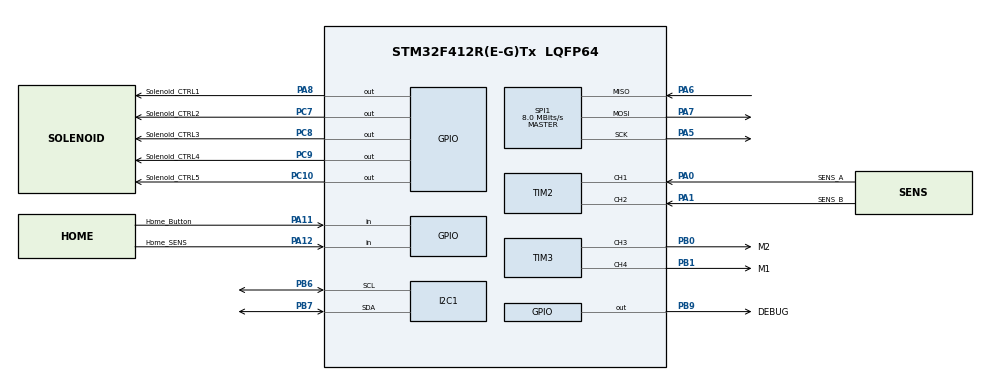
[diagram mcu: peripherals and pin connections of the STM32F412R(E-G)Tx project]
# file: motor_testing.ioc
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Mcu.Family=STM32F4
Mcu.Name=STM32F412R(E-G)Tx
Mcu.Package=LQFP64
Mcu.UserConstants=TIMxfrequency,16000000;TIM3prescaler,0;TIM3frequency,1000;TIM3autoreload,TIMxfrequency/((TIM3prescaler+1)*TIM3frequency)
NVIC.FPU_IRQn=true\:0\:0\:false\:false\:true\:true\:false\:true
NVIC.PriorityGroup=NVIC_PRIORITYGROUP_4
NVIC.TIM2_IRQn=true\:5\:0\:true\:false\:true\:true\:true\:true
NVIC.TIM3_IRQn=true\:5\:0\:true\:false\:true\:true\:true\:true
NVIC.TIM8_UP_TIM13_IRQn=true\:15\:0\:false\:false\:true\:false\:true\:true
NVIC.TimeBase=TIM8_UP_TIM13_IRQn
NVIC.TimeBaseIP=TIM8
PA0.GPIO_Label=SENS_A
PA0.Signal=S_TIM2_CH1_ETR
PA1.GPIO_Label=SENS_B
PA1.Signal=S_TIM2_CH2
PA11.GPIO_Label=Home_Button
PA11.GPIO_PuPd=GPIO_PULLDOWN
PA11.Signal=GPIO_Input
PA12.GPIO_Label=Home_SENS
PA12.GPIO_PuPd=GPIO_PULLDOWN
PA12.Signal=GPIO_Input
PA13.GPIO_Label=M_SWDIO
PA13.Mode=Trace_Asynchronous_SW
PA13.Signal=SYS_JTMS-SWDIO
PA14.GPIO_Label=M_SWCLK
PA14.Mode=Trace_Asynchronous_SW
PA14.Signal=SYS_JTCK-SWCLK
PA5.Mode=Full_Duplex_Master
PA5.Signal=SPI1_SCK
PA6.Mode=Full_Duplex_Master
PA6.Signal=SPI1_MISO
PA7.Mode=Full_Duplex_Master
PA7.Signal=SPI1_MOSI
PA8.GPIO_Label=Solenoid_CTRL1
PA8.Signal=GPIO_Output
PB0.GPIO_Label=M2
PB0.GPIO_PuPd=GPIO_NOPULL
PB0.Signal=S_TIM3_CH3
PB1.GPIO_Label=M1
PB1.Signal=S_TIM3_CH4
PB3.GPIO_Label=M_SWO
PB3.Mode=Trace_Asynchronous_SW
PB3.Signal=SYS_JTDO-SWO
PB6.Mode=I2C
PB6.Signal=I2C1_SCL
PB7.Mode=I2C
PB7.Signal=I2C1_SDA
PB9.GPIO_Label=DEBUG
PB9.Signal=GPIO_Output
PC10.GPIO_Label=Solenoid_CTRL5
PC10.Signal=GPIO_Output
PC7.GPIO_Label=Solenoid_CTRL2
PC7.Signal=GPIO_Output
PC8.GPIO_Label=Solenoid_CTRL3
PC8.Signal=GPIO_Output
PC9.GPIO_Label=Solenoid_CTRL4
PC9.Signal=GPIO_Output
PH0\ -\ OSC_IN.Mode=HSE-External-Oscillator
PH0\ -\ OSC_IN.Signal=RCC_OSC_IN
PH1\ -\ OSC_OUT.Mode=HSE-External-Oscillator
PH1\ -\ OSC_OUT.Signal=RCC_OSC_OUT
ProjectManager.HeapSize=0x200
ProjectManager.StackSize=0x400
ProjectManager.TargetToolchain=CMake
RCC.CortexFreq_Value=16000000
RCC.HSE_VALUE=8000000
RCC.PLLSourceVirtual=RCC_PLLSOURCE_HSE
RCC.USBFreq_Value=48000000
RCC.VCOOutputFreq_Value=96000000
SH.S_TIM2_CH1_ETR.0=TIM2_CH1,Encoder_Interface
SH.S_TIM2_CH2.0=TIM2_CH2,Encoder_Interface
SH.S_TIM3_CH3.0=TIM3_CH3,PWM Generation3 CH3
SH.S_TIM3_CH4.0=TIM3_CH4,PWM Generation4 CH4
SPI1.CalculateBaudRate=8.0 MBits/s
SPI1.Direction=SPI_DIRECTION_2LINES
SPI1.Mode=SPI_MODE_MASTER
SPI1.VirtualType=VM_MASTER
TIM2.EncoderMode=TIM_ENCODERMODE_TI12
TIM2.IC1Filter=10
TIM3.AutoReloadPreload=TIM_AUTORELOAD_PRELOAD_ENABLE
TIM3.Channel-PWM\ Generation3\ CH3=TIM_CHANNEL_3
TIM3.Channel-PWM\ Generation4\ CH4=TIM_CHANNEL_4
TIM3.Period=TIM3autoreload
TIM3.Prescaler=TIM3prescaler
VP_SYS_VS_tim8.Mode=TIM8
board=custom

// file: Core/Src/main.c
/* USER CODE BEGIN Header */
/**
  ******************************************************************************
  * @file           : main.c
  * @brief          : Main program body
  ******************************************************************************
  * @attention
  *
  * Copyright (c) 2026 STMicroelectronics.
  * All rights reserved.
  *
  * This software is licensed under terms that can be found in the LICENSE file
  * in the root directory of this software component.
  * If no LICENSE file comes with this software, it is provided AS-IS.
  *
  ******************************************************************************
  */
/* USER CODE END Header */
#include "main.h"

/* USER CODE BEGIN Includes */
#include "SEGGER_RTT_Conf.h"
#include "SEGGER_RTT.h"
#include <stdint.h>
/* USER CODE END Includes */

I2C_HandleTypeDef hi2c1;

SPI_HandleTypeDef hspi1;

TIM_HandleTypeDef htim2;
TIM_HandleTypeDef htim3;

/* USER CODE BEGIN PV */
int32_t pos = 0;
int32_t lastPos = 0;
uint32_t blink_delay = 200;
/* USER CODE END PV */

void SystemClock_Config(void);
static void MX_GPIO_Init(void);
static void MX_I2C1_Init(void);
static void MX_SPI1_Init(void);
static void MX_TIM3_Init(void);
static void MX_TIM2_Init(void);
/* USER CODE BEGIN PFP */
void ReadEncoder(TIM_HandleTypeDef *htim);
/* USER CODE END PFP */

int main(void)
{

  /* MCU Configuration--------------------------------------------------------*/

  /* Reset of all peripherals, Initializes the Flash interface and the Systick. */
  HAL_Init();

  /* Configure the system clock */
  SystemClock_Config();

  /* Initialize all configured peripherals */
  MX_GPIO_Init();
  MX_I2C1_Init();
  MX_SPI1_Init();
  MX_TIM3_Init();
  MX_TIM2_Init();
  /* USER CODE BEGIN 2 */

  // Starting Timer in Encoder mode
  SEGGER_RTT_Init();
  HAL_TIM_Encoder_Start(&htim2, TIM_CHANNEL_ALL);

  // Initializing PWM for motor control
  HAL_TIM_PWM_Start(&htim3, TIM_CHANNEL_3);
  HAL_TIM_PWM_Start(&htim3, TIM_CHANNEL_4);

  uint32_t arr = __HAL_TIM_GET_AUTORELOAD(&htim3);
  uint32_t ccr_value = 0.6f * arr;

  __HAL_TIM_SET_COMPARE(&htim3, TIM_CHANNEL_3, ccr_value);
  __HAL_TIM_SET_COMPARE(&htim3, TIM_CHANNEL_4, ccr_value);

  /* USER CODE END 2 */

  /* Infinite loop */
  /* USER CODE BEGIN WHILE */
  while (1)
  {

    // Read the current position of the encoder and update LED
    ReadEncoder(&htim2);

    /* USER CODE END WHILE */

  }
}

void SystemClock_Config(void)
{
  RCC_OscInitTypeDef RCC_OscInitStruct = {0};
  RCC_ClkInitTypeDef RCC_ClkInitStruct = {0};

  /** Configure the main internal regulator output voltage
  */
  __HAL_RCC_PWR_CLK_ENABLE();
  __HAL_PWR_VOLTAGESCALING_CONFIG(PWR_REGULATOR_VOLTAGE_SCALE1);

  /** Initializes the RCC Oscillators according to the specified parameters
  * in the RCC_OscInitTypeDef structure.
  */
  RCC_OscInitStruct.OscillatorType = RCC_OSCILLATORTYPE_HSI;
  RCC_OscInitStruct.HSIState = RCC_HSI_ON;
  RCC_OscInitStruct.HSICalibrationValue = RCC_HSICALIBRATION_DEFAULT;
  RCC_OscInitStruct.PLL.PLLState = RCC_PLL_NONE;
  if (HAL_RCC_OscConfig(&RCC_OscInitStruct) != HAL_OK)
  {
    Error_Handler();
  }

  /** Initializes the CPU, AHB and APB buses clocks
  */
  RCC_ClkInitStruct.ClockType = RCC_CLOCKTYPE_HCLK|RCC_CLOCKTYPE_SYSCLK
                              |RCC_CLOCKTYPE_PCLK1|RCC_CLOCKTYPE_PCLK2;
  RCC_ClkInitStruct.SYSCLKSource = RCC_SYSCLKSOURCE_HSI;
  RCC_ClkInitStruct.AHBCLKDivider = RCC_SYSCLK_DIV1;
  RCC_ClkInitStruct.APB1CLKDivider = RCC_HCLK_DIV1;
  RCC_ClkInitStruct.APB2CLKDivider = RCC_HCLK_DIV1;

  if (HAL_RCC_ClockConfig(&RCC_ClkInitStruct, FLASH_LATENCY_0) != HAL_OK)
  {
    Error_Handler();
  }
}

static void MX_I2C1_Init(void)
{

  hi2c1.Instance = I2C1;
  hi2c1.Init.ClockSpeed = 100000;
  hi2c1.Init.DutyCycle = I2C_DUTYCYCLE_2;
  hi2c1.Init.OwnAddress1 = 0;
  hi2c1.Init.AddressingMode = I2C_ADDRESSINGMODE_7BIT;
  hi2c1.Init.DualAddressMode = I2C_DUALADDRESS_DISABLE;
  hi2c1.Init.OwnAddress2 = 0;
  hi2c1.Init.GeneralCallMode = I2C_GENERALCALL_DISABLE;
  hi2c1.Init.NoStretchMode = I2C_NOSTRETCH_DISABLE;
  if (HAL_I2C_Init(&hi2c1) != HAL_OK)
  {
    Error_Handler();
  }

}

static void MX_SPI1_Init(void)
{

  /* SPI1 parameter configuration*/
  hspi1.Instance = SPI1;
  hspi1.Init.Mode = SPI_MODE_MASTER;
  hspi1.Init.Direction = SPI_DIRECTION_2LINES;
  hspi1.Init.DataSize = SPI_DATASIZE_8BIT;
  hspi1.Init.CLKPolarity = SPI_POLARITY_LOW;
  hspi1.Init.CLKPhase = SPI_PHASE_1EDGE;
  hspi1.Init.NSS = SPI_NSS_SOFT;
  hspi1.Init.BaudRatePrescaler = SPI_BAUDRATEPRESCALER_2;
  hspi1.Init.FirstBit = SPI_FIRSTBIT_MSB;
  hspi1.Init.TIMode = SPI_TIMODE_DISABLE;
  hspi1.Init.CRCCalculation = SPI_CRCCALCULATION_DISABLE;
  hspi1.Init.CRCPolynomial = 10;
  if (HAL_SPI_Init(&hspi1) != HAL_OK)
  {
    Error_Handler();
  }

}

static void MX_TIM2_Init(void)
{

  TIM_Encoder_InitTypeDef sConfig = {0};
  TIM_MasterConfigTypeDef sMasterConfig = {0};

  htim2.Instance = TIM2;
  htim2.Init.Prescaler = 0;
  htim2.Init.CounterMode = TIM_COUNTERMODE_UP;
  htim2.Init.Period = 4294967295;
  htim2.Init.ClockDivision = TIM_CLOCKDIVISION_DIV1;
  htim2.Init.AutoReloadPreload = TIM_AUTORELOAD_PRELOAD_DISABLE;
  sConfig.EncoderMode = TIM_ENCODERMODE_TI12;
  sConfig.IC1Polarity = TIM_ICPOLARITY_RISING;
  sConfig.IC1Selection = TIM_ICSELECTION_DIRECTTI;
  sConfig.IC1Prescaler = TIM_ICPSC_DIV1;
  sConfig.IC1Filter = 10;
  sConfig.IC2Polarity = TIM_ICPOLARITY_RISING;
  sConfig.IC2Selection = TIM_ICSELECTION_DIRECTTI;
  sConfig.IC2Prescaler = TIM_ICPSC_DIV1;
  sConfig.IC2Filter = 0;
  if (HAL_TIM_Encoder_Init(&htim2, &sConfig) != HAL_OK)
  {
    Error_Handler();
  }
  sMasterConfig.MasterOutputTrigger = TIM_TRGO_RESET;
  sMasterConfig.MasterSlaveMode = TIM_MASTERSLAVEMODE_DISABLE;
  if (HAL_TIMEx_MasterConfigSynchronization(&htim2, &sMasterConfig) != HAL_OK)
  {
    Error_Handler();
  }

}

static void MX_TIM3_Init(void)
{

  TIM_MasterConfigTypeDef sMasterConfig = {0};
  TIM_OC_InitTypeDef sConfigOC = {0};

  htim3.Instance = TIM3;
  htim3.Init.Prescaler = TIM3prescaler;
  htim3.Init.CounterMode = TIM_COUNTERMODE_UP;
  htim3.Init.Period = TIM3autoreload;
  htim3.Init.ClockDivision = TIM_CLOCKDIVISION_DIV1;
  htim3.Init.AutoReloadPreload = TIM_AUTORELOAD_PRELOAD_ENABLE;
  if (HAL_TIM_PWM_Init(&htim3) != HAL_OK)
  {
    Error_Handler();
  }
  sMasterConfig.MasterOutputTrigger = TIM_TRGO_RESET;
  sMasterConfig.MasterSlaveMode = TIM_MASTERSLAVEMODE_DISABLE;
  if (HAL_TIMEx_MasterConfigSynchronization(&htim3, &sMasterConfig) != HAL_OK)
  {
    Error_Handler();
  }
  sConfigOC.OCMode = TIM_OCMODE_PWM1;
  sConfigOC.Pulse = 0;
  sConfigOC.OCPolarity = TIM_OCPOLARITY_HIGH;
  sConfigOC.OCFastMode = TIM_OCFAST_DISABLE;
  if (HAL_TIM_PWM_ConfigChannel(&htim3, &sConfigOC, TIM_CHANNEL_3) != HAL_OK)
  {
    Error_Handler();
  }
  if (HAL_TIM_PWM_ConfigChannel(&htim3, &sConfigOC, TIM_CHANNEL_4) != HAL_OK)
  {
    Error_Handler();
  }
  HAL_TIM_MspPostInit(&htim3);

}

static void MX_GPIO_Init(void)
{
  GPIO_InitTypeDef GPIO_InitStruct = {0};

  /* GPIO Ports Clock Enable */
  __HAL_RCC_GPIOH_CLK_ENABLE();
  __HAL_RCC_GPIOA_CLK_ENABLE();
  __HAL_RCC_GPIOB_CLK_ENABLE();
  __HAL_RCC_GPIOC_CLK_ENABLE();

  /*Configure GPIO pin Output Level */
  HAL_GPIO_WritePin(GPIOC, Solenoid_CTRL2_Pin|Solenoid_CTRL3_Pin|Solenoid_CTRL4_Pin|Solenoid_CTRL5_Pin, GPIO_PIN_RESET);

  /*Configure GPIO pin Output Level */
  HAL_GPIO_WritePin(Solenoid_CTRL1_GPIO_Port, Solenoid_CTRL1_Pin, GPIO_PIN_RESET);

  /*Configure GPIO pin Output Level */
  HAL_GPIO_WritePin(DEBUG_GPIO_Port, DEBUG_Pin, GPIO_PIN_RESET);

  /*Configure GPIO pins : Solenoid_CTRL2_Pin Solenoid_CTRL3_Pin Solenoid_CTRL4_Pin Solenoid_CTRL5_Pin */
  GPIO_InitStruct.Pin = Solenoid_CTRL2_Pin|Solenoid_CTRL3_Pin|Solenoid_CTRL4_Pin|Solenoid_CTRL5_Pin;
  GPIO_InitStruct.Mode = GPIO_MODE_OUTPUT_PP;
  GPIO_InitStruct.Pull = GPIO_NOPULL;
  GPIO_InitStruct.Speed = GPIO_SPEED_FREQ_LOW;
  HAL_GPIO_Init(GPIOC, &GPIO_InitStruct);

  /*Configure GPIO pin : Solenoid_CTRL1_Pin */
  GPIO_InitStruct.Pin = Solenoid_CTRL1_Pin;
  GPIO_InitStruct.Mode = GPIO_MODE_OUTPUT_PP;
  GPIO_InitStruct.Pull = GPIO_NOPULL;
  GPIO_InitStruct.Speed = GPIO_SPEED_FREQ_LOW;
  HAL_GPIO_Init(Solenoid_CTRL1_GPIO_Port, &GPIO_InitStruct);

  /*Configure GPIO pins : Home_Button_Pin Home_SENS_Pin */
  GPIO_InitStruct.Pin = Home_Button_Pin|Home_SENS_Pin;
  GPIO_InitStruct.Mode = GPIO_MODE_INPUT;
  GPIO_InitStruct.Pull = GPIO_PULLDOWN;
  HAL_GPIO_Init(GPIOA, &GPIO_InitStruct);

  /*Configure GPIO pin : DEBUG_Pin */
  GPIO_InitStruct.Pin = DEBUG_Pin;
  GPIO_InitStruct.Mode = GPIO_MODE_OUTPUT_PP;
  GPIO_InitStruct.Pull = GPIO_NOPULL;
  GPIO_InitStruct.Speed = GPIO_SPEED_FREQ_LOW;
  HAL_GPIO_Init(DEBUG_GPIO_Port, &GPIO_InitStruct);

}

/* USER CODE BEGIN 4 */
void ReadEncoder(TIM_HandleTypeDef *htim)
{
    pos = (int32_t)__HAL_TIM_GET_COUNTER(htim);

    SEGGER_RTT_printf(0, "pos = %ld\n", pos);

    if (pos != lastPos) {
        blink_delay = 50;
    } else {
        blink_delay = 200;
    }

    lastPos = pos;

    HAL_GPIO_TogglePin(DEBUG_GPIO_Port, DEBUG_Pin);
    HAL_Delay(blink_delay);
}
/* USER CODE END 4 */

void HAL_TIM_PeriodElapsedCallback(TIM_HandleTypeDef *htim)
{
  if (htim->Instance == TIM8)
  {
    HAL_IncTick();
  }
}

void Error_Handler(void)
{
  __disable_irq();
  while (1)
  {
  }
}
